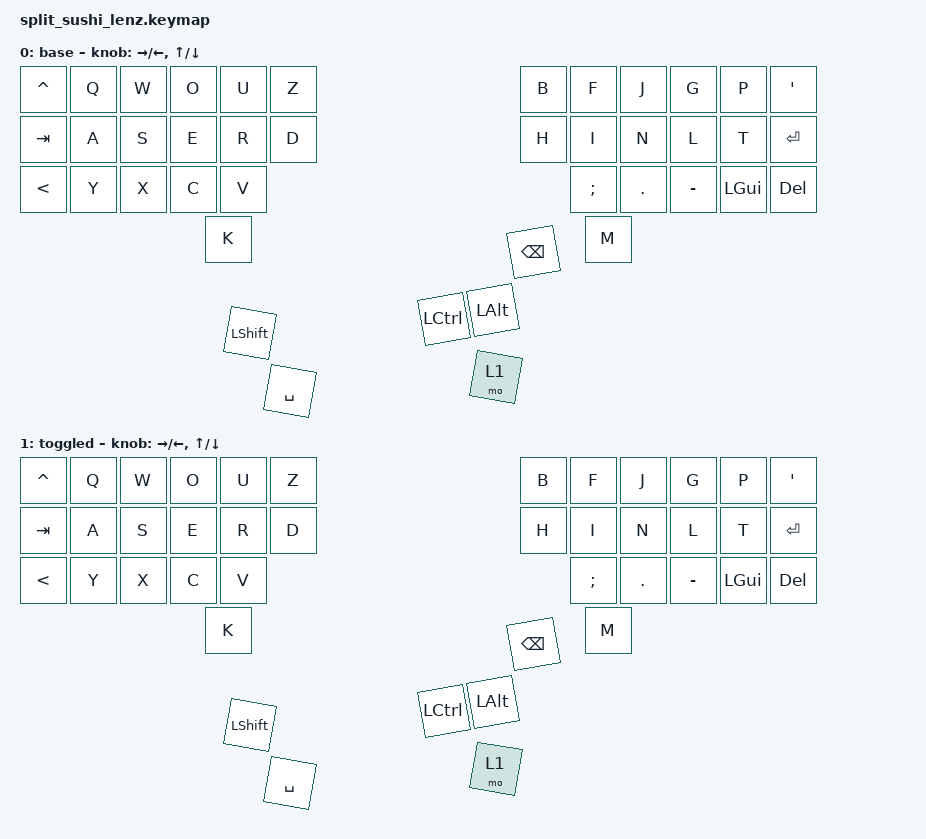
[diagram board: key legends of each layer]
// See https://zmk.dev/docs/development/hardware-integration/new-shield for more instructions.

// This file was generated from a template. Edit it to match your keyboard.
#include <behaviors.dtsi>
#include <dt-bindings/zmk/keys.h>

/ {
    // Define a default keymap here.
    // See https://zmk.dev/docs/development/hardware-integration/new-shield#default-keymap.
    keymap {
        compatible = "zmk,keymap";

        default_layer { // Layer 0
			display-name = "base";
            bindings = <
                &kp CARET &kp Q     &kp W     &kp O     &kp U     &kp Z          &kp B     &kp F     &kp J     &kp G     &kp P     &kp SQT
                &kp TAB   &kp A     &kp S     &kp E     &kp R     &kp D          &kp H     &kp I     &kp N     &kp L     &kp T     &kp RET
                &kp LT    &kp Y     &kp X     &kp C     &kp V                              &kp K     &kp M     &kp SEMI  &kp DOT   &kp MINUS   
                                                               &kp LGUI                &kp DEL
                                                                 &kp LSHIFT          &mo 1
                                                                   &kp SPACE       &kp BSPC
                                                                     &kp LCTRL   &kp LALT
            >;
			sensor-bindings = <
				&inc_dec_kp RIGHT    LEFT
				&inc_dec_kp UP       DOWN
			>;
        };
		righttoggle_layer { // Layer 1
			display-name = "toggled";
            bindings = <
                &kp CARET &kp Q     &kp W     &kp O     &kp U     &kp Z          &kp B     &kp F     &kp J     &kp G     &kp P     &kp SQT
                &kp TAB   &kp A     &kp S     &kp E     &kp R     &kp D          &kp H     &kp I     &kp N     &kp L     &kp T     &kp RET
                &kp LT    &kp Y     &kp X     &kp C     &kp V                              &kp K     &kp M     &kp SEMI  &kp DOT   &kp MINUS   
                                                               &kp LGUI                &kp DEL
                                                                 &kp LSHIFT          &mo 1
                                                                   &kp SPACE       &kp BSPC
                                                                     &kp LCTRL   &kp LALT
            >;
			sensor-bindings = <
				&inc_dec_kp RIGHT    LEFT
				&inc_dec_kp UP       DOWN
			>;
        };
    };
	
	keymap_sensors {
		compatible = "zmk,keymap_sensors";
		
		sensors = <&encoderL &encoderR>
	};
};
